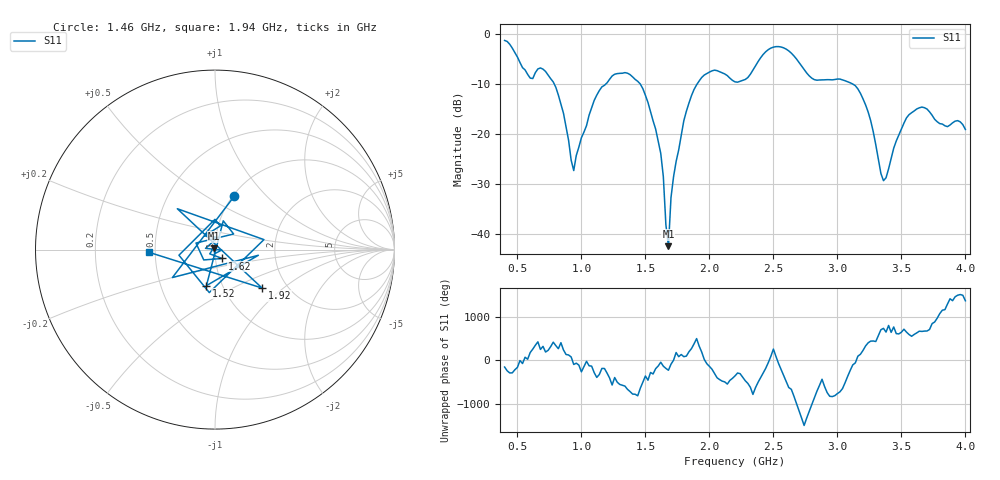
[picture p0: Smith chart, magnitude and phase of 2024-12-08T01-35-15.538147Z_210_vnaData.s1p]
!Created with skrf (http://scikit-rf.org).
# Hz S RI R 50.0
!freq ReS11 ImS11
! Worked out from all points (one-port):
!   181 points, 400 MHz to 4 GHz, reference 50 ohm
!   lowest |S11| = -42.4 dB at 1.68 GHz (marker M1), VSWR 1.02, Z = 49.6 + j0.615 ohm
!   |S11| at or under -10 dB: 787.5 MHz to 1.192 GHz (404.1 MHz wide, 40.8 % of centre); 1.46 GHz to 1.905 GHz (445.2 MHz wide, 26.5 % of centre); 3.118 GHz to end of sweep
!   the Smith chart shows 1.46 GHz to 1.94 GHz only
!   S11 on the Smith chart (normalised r, x): 1.46 GHz: 1.02, +0.67; 1.52 GHz: 0.84, -0.35; 1.62 GHz: 1.08, -0.11; 1.92 GHz: 1.50, -0.73; 1.94 GHz: 0.46, -0.02
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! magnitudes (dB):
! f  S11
! 400 MHz  -1.3
! 600 MHz  -8.8
! 720 MHz  -7.5
! 860 MHz  -15.9
! 940 MHz  -27.3
! 1.1 GHz  -13.3
! 1.3 GHz  -7.9
! 1.46 GHz  -10.0
! 1.52 GHz  -13.7
! 1.62 GHz  -23.9
! 1.64 GHz  -28.5
! 1.66 GHz  -38.1
! 1.68 GHz  -42.4
! 1.7 GHz  -32.7
! 1.76 GHz  -23.2
! 1.82 GHz  -15.5
! 1.92 GHz  -9.4
! 1.94 GHz  -8.7
! 2.2 GHz  -9.6
! 2.48 GHz  -2.8
! 2.66 GHz  -4.4
! 2.82 GHz  -9.1
! 3.1 GHz  -9.8
! 3.24 GHz  -15.6
! 3.36 GHz  -29.3
! 3.56 GHz  -16.1
! 3.68 GHz  -14.7
! 4 GHz  -19.1
